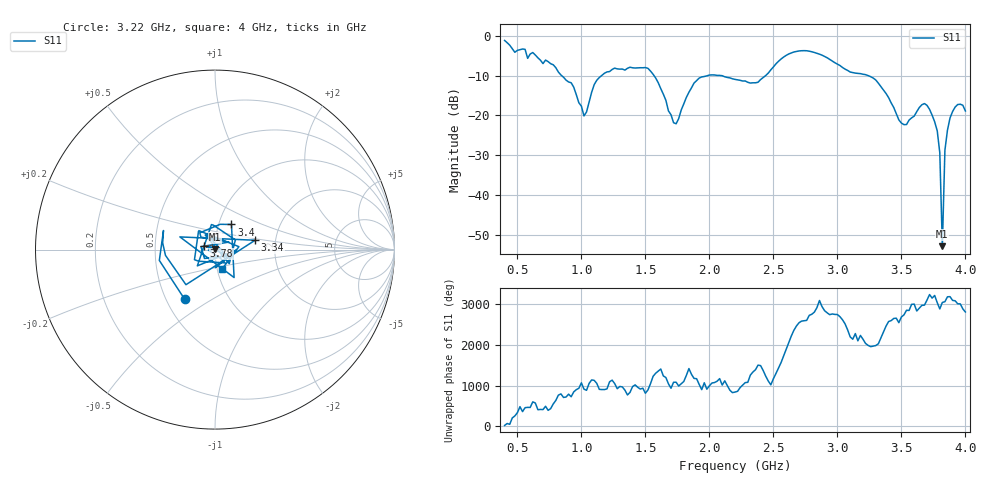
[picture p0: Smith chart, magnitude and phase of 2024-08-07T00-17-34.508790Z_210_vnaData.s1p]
!Created with skrf (http://scikit-rf.org).
# Hz S RI R 50.0
!freq ReS11 ImS11
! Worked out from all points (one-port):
!   181 points, 400 MHz to 4 GHz, reference 50 ohm
!   lowest |S11| = -52.8 dB at 3.82 GHz (marker M1), VSWR 1.00, Z = 49.8 + j0.0597 ohm
!   |S11| at or under -10 dB: 1.567 GHz to 1.988 GHz (420.6 MHz wide, 23.7 % of centre); 2.09 GHz to 2.44 GHz (349.9 MHz wide, 15.4 % of centre); 3.239 GHz to end of sweep (the widest 3 of 4)
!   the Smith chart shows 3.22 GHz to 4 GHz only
!   S11 on the Smith chart (normalised r, x): 3.22 GHz: 0.62, -0.38; 3.34 GHz: 1.56, +0.17; 3.4 GHz: 1.15, +0.33; 3.78 GHz: 0.89, +0.04; 4 GHz: 1.06, -0.23
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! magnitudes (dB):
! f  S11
! 400 MHz  -1.2
! 860 MHz  -10.4
! 940 MHz  -12.9
! 1.02 GHz  -20.1
! 1.12 GHz  -11.2
! 1.3 GHz  -8.4
! 1.52 GHz  -8.2
! 1.6 GHz  -11.8
! 1.72 GHz  -21.8
! 1.76 GHz  -20.8
! 1.92 GHz  -10.6
! 2.2 GHz  -11.0
! 2.38 GHz  -11.7
! 2.66 GHz  -4.1
! 3.1 GHz  -9.1
! 3.22 GHz  -9.8
! 3.34 GHz  -12.8
! 3.4 GHz  -15.5
! 3.5 GHz  -21.9
! 3.56 GHz  -21.2
! 3.68 GHz  -17.0
! 3.78 GHz  -23.9
! 3.8 GHz  -29.4
! 3.82 GHz  -52.8
! 3.84 GHz  -28.7
! 3.86 GHz  -23.7
! 3.92 GHz  -17.9
! 4 GHz  -18.9
